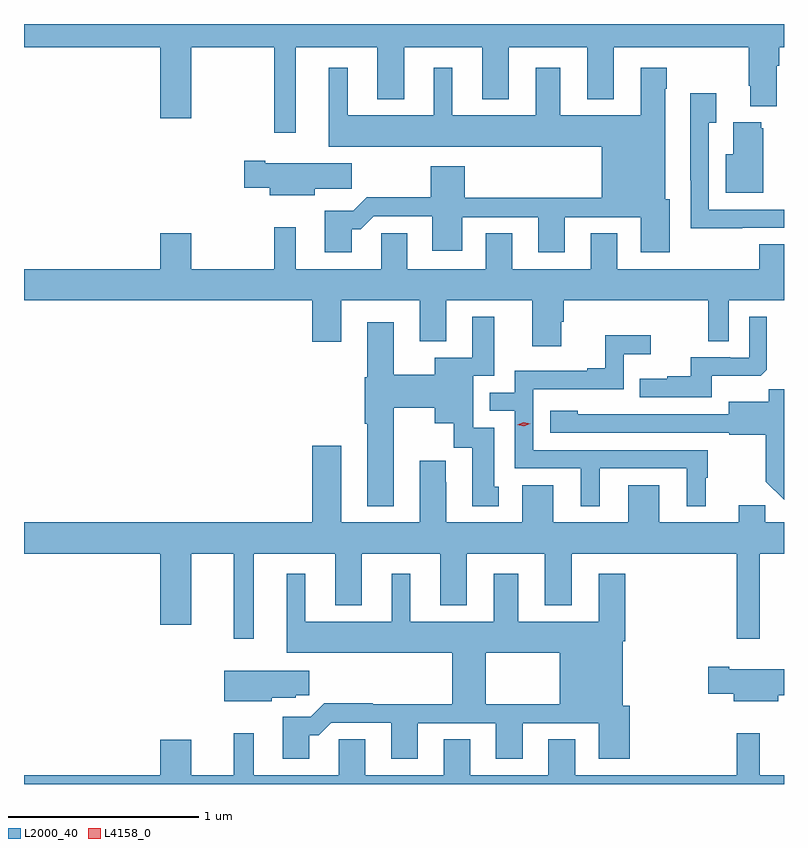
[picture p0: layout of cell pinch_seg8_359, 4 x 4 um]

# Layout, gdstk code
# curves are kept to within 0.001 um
import gdstk
lib = gdstk.Library(unit=1e-6, precision=1e-09)
def P(c, l, *ps):  # polygons
    for p in ps: c.add(gdstk.Polygon(p, *l))
L2000_40 = (2000, 40)
L4158_0 = (4158, 0)

pinch_seg8_359 = lib.new_cell('pinch_seg8_359')
P(pinch_seg8_359, L2000_40, [(393.493,1119.164),(393.923,1119.164),(393.923,1118.891),(394.063,1118.891),(394.063,1119.164),(394.475,1119.164),(394.475,1118.891),(394.615,1118.891),(394.615,1119.164),(395.027,1119.164),(395.027,1118.891),(395.167,1118.891),(395.167,1119.164),(395.878,1119.164),(395.878,1118.962),(395.885,1118.962),(395.885,1118.855),(396.025,1118.855),(396.025,1119.068),(396.038,1119.068),(396.038,1119.164),(396.063,1119.164),(396.063,1119.287),(392.063,1119.287),(392.063,1119.164),(392.78,1119.164),(392.78,1118.79),(392.944,1118.79),(392.944,1119.164),(393.379,1119.164),(393.379,1118.715),(393.493,1118.715)],
  [(393.787,1118.207),(393.836,1118.207),(393.903,1118.274),(394.211,1118.274),(394.211,1118.093),(394.369,1118.093),(394.369,1118.271),(394.769,1118.271),(394.769,1118.085),(394.909,1118.085),(394.909,1118.271),(395.309,1118.271),(395.309,1118.085),(395.461,1118.085),(395.461,1118.364),(395.437,1118.364),(395.437,1118.945),(395.445,1118.945),(395.445,1119.058),(395.309,1119.058),(395.309,1118.806),(394.885,1118.806),(394.885,1119.058),(394.757,1119.058),(394.757,1118.806),(394.318,1118.806),(394.318,1119.058),(394.22,1119.058),(394.22,1118.806),(393.766,1118.806),(393.766,1119.058),(393.668,1119.058),(393.668,1118.642),(395.105,1118.642),(395.105,1118.372),(394.382,1118.372),(394.382,1118.539),(394.204,1118.539),(394.204,1118.375),(393.866,1118.375),(393.796,1118.305),(393.647,1118.305),(393.647,1118.085),(393.787,1118.085)],
  [(395.843,1118.214),(396.063,1118.214),(396.063,1118.31),(395.667,1118.31),(395.667,1118.767),(395.707,1118.767),(395.707,1118.923),(395.57,1118.923),(395.57,1118.464),(395.571,1118.464),(395.571,1118.213),(395.843,1118.213)],
  [(395.953,1118.739),(395.942,1118.739),(395.942,1118.77),(395.795,1118.77),(395.795,1118.602),(395.756,1118.602),(395.756,1118.399),(395.953,1118.399)],
  [(393.592,1118.419),(393.787,1118.419),(393.787,1118.554),(393.334,1118.554),(393.334,1118.567),(393.222,1118.567),(393.222,1118.425),(393.356,1118.425),(393.356,1118.387),(393.592,1118.387)],
  [(394.891,1117.719),(394.904,1117.719),(394.904,1117.832),(395.664,1117.832),(395.664,1117.618),(395.772,1117.618),(395.772,1117.832),(396.063,1117.832),(396.063,1118.129),(395.932,1118.129),(395.932,1117.996),(395.185,1117.996),(395.185,1118.186),(395.045,1118.186),(395.045,1117.996),(394.633,1117.996),(394.633,1118.186),(394.493,1118.186),(394.493,1117.996),(394.081,1117.996),(394.081,1118.186),(393.942,1118.186),(393.942,1117.996),(393.493,1117.996),(393.493,1118.218),(393.379,1118.218),(393.379,1117.996),(392.944,1117.996),(392.944,1118.185),(392.78,1118.185),(392.78,1117.996),(392.063,1117.996),(392.063,1117.832),(393.581,1117.832),(393.581,1117.614),(393.733,1117.614),(393.733,1117.832),(394.145,1117.832),(394.145,1117.616),(394.285,1117.616),(394.285,1117.832),(394.739,1117.832),(394.739,1117.59),(394.891,1117.59)],
  [(395.683,1117.436),(395.941,1117.436),(395.973,1117.467),(395.973,1117.747),(395.88,1117.747),(395.88,1117.53),(395.78,1117.53),(395.78,1117.533),(395.573,1117.533),(395.573,1117.432),(395.449,1117.432),(395.449,1117.42),(395.305,1117.42),(395.305,1117.323),(395.683,1117.323)],
  [(394.009,1117.268),(394.226,1117.268),(394.226,1117.187),(394.325,1117.187),(394.325,1117.056),(394.421,1117.056),(394.421,1116.75),(394.561,1116.75),(394.561,1116.852),(394.537,1116.852),(394.537,1117.161),(394.428,1117.161),(394.428,1117.437),(394.537,1117.437),(394.537,1117.747),(394.421,1117.747),(394.421,1117.531),(394.226,1117.531),(394.226,1117.44),(394.009,1117.44),(394.009,1117.717),(393.869,1117.717),(393.869,1117.428),(393.857,1117.428),(393.857,1117.184),(393.869,1117.184),(393.869,1116.749),(394.009,1116.749)],
  [(395.092,1116.948),(395.552,1116.948),(395.552,1116.749),(395.65,1116.749),(395.65,1116.9),(395.662,1116.9),(395.662,1117.044),(394.743,1117.044),(394.743,1117.365),(395.22,1117.365),(395.22,1117.55),(395.362,1117.55),(395.362,1117.649),(395.122,1117.649),(395.122,1117.474),(395.027,1117.474),(395.027,1117.461),(394.647,1117.461),(394.647,1117.347),(394.514,1117.347),(394.514,1117.251),(394.647,1117.251),(394.647,1116.948),(394.994,1116.948),(394.994,1116.749),(395.092,1116.749)],
  [(396.063,1117.364),(395.982,1117.364),(395.982,1117.3),(395.771,1117.3),(395.771,1117.233),(394.977,1117.234),(394.977,1117.252),(394.833,1117.252),(394.833,1117.137),(395.775,1117.137),(395.775,1117.125),(395.967,1117.125),(395.967,1116.879),(396.063,1116.783)],
  [(393.271,1116.5),(393.701,1116.5),(393.701,1116.227),(393.841,1116.227),(393.841,1116.5),(394.253,1116.5),(394.253,1116.227),(394.393,1116.227),(394.393,1116.5),(394.805,1116.5),(394.805,1116.227),(394.945,1116.227),(394.945,1116.5),(395.814,1116.5),(395.814,1116.051),(395.935,1116.051),(395.935,1116.5),(396.063,1116.5),(396.063,1116.664),(395.963,1116.664),(395.963,1116.755),(395.825,1116.755),(395.825,1116.664),(395.407,1116.664),(395.407,1116.859),(395.243,1116.859),(395.243,1116.664),(394.849,1116.664),(394.849,1116.859),(394.685,1116.859),(394.685,1116.664),(394.285,1116.664),(394.285,1116.875),(394.282,1116.875),(394.282,1116.988),(394.145,1116.988),(394.145,1116.664),(393.733,1116.664),(393.733,1117.066),(393.581,1117.066),(393.581,1116.664),(392.063,1116.664),(392.063,1116.5),(392.78,1116.5),(392.78,1116.126),(392.944,1116.126),(392.944,1116.5),(393.167,1116.5),(393.167,1116.051),(393.271,1116.051)],
  [(393.899,1115.711),(393.644,1115.711),(393.573,1115.64),(393.425,1115.64),(393.425,1115.421),(393.565,1115.421),(393.565,1115.543),(393.614,1115.543),(393.681,1115.61),(393.995,1115.61),(393.995,1115.421),(394.135,1115.421),(394.135,1115.607),(394.547,1115.607),(394.547,1115.421),(394.687,1115.421),(394.687,1115.607),(395.087,1115.607),(395.087,1115.421),(395.252,1115.421),(395.252,1115.7),(395.215,1115.7),(395.215,1116.038),(395.228,1116.038),(395.228,1116.394),(395.087,1116.394),(395.087,1116.142),(394.663,1116.142),(394.663,1116.394),(394.535,1116.394),(394.535,1116.142),(394.096,1116.142),(394.096,1116.394),(393.998,1116.394),(393.998,1116.142),(393.544,1116.142),(393.544,1116.394),(393.446,1116.394),(393.446,1115.978),(394.316,1115.978),(394.316,1115.708),(394.494,1115.708),(394.494,1115.978),(394.883,1115.978),(394.883,1115.708),(393.899,1115.708)],
  [(396.034,1115.755),(396.063,1115.755),(396.063,1115.89),(395.776,1115.89),(395.776,1115.903),(395.664,1115.903),(395.664,1115.761),(395.798,1115.761),(395.798,1115.723),(396.034,1115.723)],
  [(393.366,1115.741),(393.492,1115.741),(393.492,1115.755),(393.565,1115.755),(393.565,1115.884),(393.116,1115.884),(393.116,1115.723),(393.366,1115.723)],
  [(396.063,1115.332),(395.935,1115.332),(395.935,1115.554),(395.814,1115.554),(395.814,1115.332),(394.963,1115.332),(394.963,1115.522),(394.823,1115.522),(394.823,1115.332),(394.411,1115.332),(394.411,1115.522),(394.271,1115.522),(394.271,1115.332),(393.859,1115.332),(393.859,1115.522),(393.72,1115.522),(393.72,1115.332),(393.271,1115.332),(393.271,1115.554),(393.167,1115.554),(393.167,1115.332),(392.944,1115.332),(392.944,1115.521),(392.78,1115.521),(392.78,1115.332),(392.063,1115.332),(392.063,1115.287),(396.063,1115.287)])
P(pinch_seg8_359, L4158_0, [(394.694,1117.17),(394.659,1117.177),(394.658,1117.178),(394.659,1117.178),(394.692,1117.19),(394.727,1117.183),(394.728,1117.183),(394.727,1117.183)])

lib.write_gds('pinch_seg8_359.gds')
